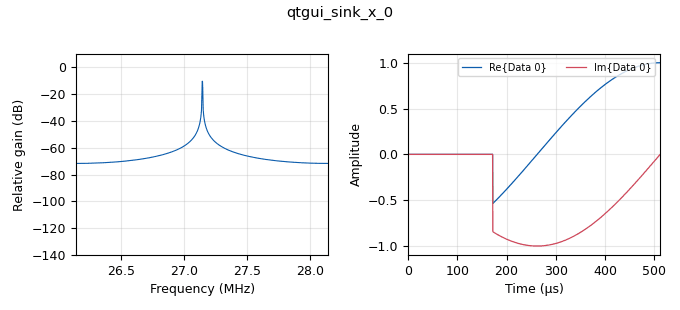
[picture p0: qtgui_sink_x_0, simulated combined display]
options:
  parameters:
    generate_options: qt_gui
    id: top_block
    output_language: python
  states: {}

blocks:
- name: center_freq
  id: variable
  parameters:
    value: '27146000'
  states: {}
- name: forward
  id: variable
  parameters:
    value: '[1, 1, 1, 1, 1, 0, 1, 1, 1, 1, 1, 0, 1, 1, 1, 1, 1, 0, 1, 1, 1, 1, 1, 0, 1, 1, 0, 1, 1, 0, 1, 1, 0, 1, 1, 0, 1, 1, 0, 1, 1, 0, 1, 1, 0, 1, 1, 0, 1, 1, 0, 1, 1, 0]'
  states: {}
- name: forwardLeft
  id: variable
  parameters:
    value: '[1, 1, 1, 1, 1, 0, 1, 1, 1, 1, 1, 0, 1, 1, 1, 1, 1, 0, 1, 1, 1, 1, 1, 0, 1, 1, 0, 1, 1, 0, 1, 1, 0, 1, 1, 0, 1, 1, 0, 1, 1, 0, 1, 1, 0, 1, 1, 0, 1, 1, 0, 1, 1, 0, 1, 1, 0, 1, 1, 0, 1, 1, 0, 1, 1, 0, 1, 1, 0, 1, 1, 0, 1, 1, 0, 1, 1, 0, 1, 1, 0, 1, 1, 0, 1, 1, 0, 1, 1, 0, 1, 1, 0, 1, 1, 0, 1, 1, 0, 1, 1, 0, 1, 1, 0, 1, 1, 0]'
  states: {}
- name: forwardRight
  id: variable
  parameters:
    value: '[1, 1, 1, 1, 1, 0, 1, 1, 1, 1, 1, 0, 1, 1, 1, 1, 1, 0, 1, 1, 1, 1, 1, 0, 1, 1, 0, 1, 1, 0, 1, 1, 0, 1, 1, 0, 1, 1, 0, 1, 1, 0, 1, 1, 0, 1, 1, 0, 1, 1, 0, 1, 1, 0, 1, 1, 0, 1, 1, 0, 1, 1, 0, 1, 1, 0, 1, 1, 0, 1, 1, 0, 1, 1, 0, 1, 1, 0, 1, 1, 0, 1, 1, 0, 1, 1, 0, 1, 1, 0, 1, 1, 0, 1, 1, 0, 1, 1, 0, 1, 1, 0, 1, 1, 0, 1, 1, 0, 1, 1, 0, 1, 1, 0, 1, 1, 0, 1, 1, 0, 1, 1, 0, 1, 1, 0]'
  states: {}
- name: left
  id: variable
  parameters:
    value: '[1, 1, 1, 1, 1, 0, 1, 1, 1, 1, 1, 0, 1, 1, 1, 1, 1, 0, 1, 1, 1, 1, 1, 0, 1, 1, 0, 1, 1, 0, 1, 1, 0, 1, 1, 0, 1, 1, 0, 1, 1, 0, 1, 1, 0, 1, 1, 0, 1, 1, 0, 1, 1, 0, 1, 1, 0, 1, 1, 0, 1, 1, 0, 1, 1, 0, 1, 1, 0, 1, 1, 0, 1, 1, 0, 1, 1, 0, 1, 1, 0, 1, 1, 0, 1, 1, 0, 1, 1, 0, 1, 1, 0, 1, 1, 0, 1, 1, 0, 1, 1, 0, 1, 1, 0, 1, 1, 0, 1, 1, 0, 1, 1, 0, 1, 1, 0, 1, 1, 0, 1, 1, 0, 1, 1, 0, 1, 1, 0, 1, 1, 0, 1, 1, 0, 1, 1, 0, 1, 1, 0, 1, 1, 0, 1, 1, 0, 1, 1, 0, 1, 1, 0, 1, 1, 0, 1, 1, 0, 1, 1, 0, 1, 1, 0, 1, 1, 0, 1, 1, 0, 1, 1, 0, 1, 1, 0, 1, 1, 0, 1, 1, 0, 1, 1, 0, 1, 1, 0, 1, 1, 0, 1, 1, 0, 1, 1, 0]'
  states: {}
- name: partyModeDirection
  id: variable
  parameters:
    value: int(np.real(probe)*127)%7
  states: {}
- name: probe
  id: variable_function_probe
  parameters:
    block_id: signalProbe
    function_name: level
    poll_rate: '5'
    value: '0'
  states: {}
- name: reverse
  id: variable
  parameters:
    value: '[1, 1, 1, 1, 1, 1, 0, 1, 1, 1, 1, 1, 1, 0, 1, 1, 1, 1, 1, 1, 0, 1, 1, 1, 1, 1, 1, 0, 1, 1, 1, 0, 1, 1, 1, 0, 1, 1, 1, 0, 1, 1, 1, 0, 1, 1, 1, 0, 1, 1, 1, 0, 1, 1, 1, 0, 1, 1, 1, 0, 1, 1, 1, 0, 1, 1, 1, 0, 1, 1, 1, 0, 1, 1, 1, 0, 1, 1, 1, 0, 1, 1, 1, 0, 1, 1, 1, 0, 1, 1, 1, 0, 1, 1, 1, 0, 1, 1, 1, 0, 1, 1, 1, 0, 1, 1, 1, 0, 1, 1, 1, 0, 1, 1, 1, 0, 1, 1, 1, 0, 1, 1, 1, 0, 1, 1, 1, 0, 1, 1, 1, 0, 1, 1, 1, 0, 1, 1, 1, 0, 1, 1, 1, 0, 1, 1, 1, 0, 1, 1, 1, 0, 1, 1, 1, 0, 1, 1, 1, 0, 1, 1, 1, 0, 1, 1, 1, 0, 1, 1, 1, 0, 1, 1, 1, 0, 1, 1, 1, 0, 1, 1, 1, 0, 1, 1, 1, 0]'
  states: {}
- name: reverseLeft
  id: variable
  parameters:
    value: '[1, 1, 1, 1, 1, 1, 1, 1, 0, 1, 1, 1, 1, 1, 1, 1, 1, 0, 1, 1, 1, 1, 1, 1, 1, 1, 0, 1, 1, 1, 1, 1, 1, 1, 1, 0, 1, 1, 1, 0, 1, 1, 1, 0, 1, 1, 1, 1, 0, 1, 1, 1, 0, 1, 1, 1, 0, 1, 1, 1, 0, 1, 1, 1, 0, 1, 1, 1, 0, 1, 1, 1, 0, 1, 1, 1, 0, 1, 1, 1, 0, 1, 1, 1, 0, 1, 1, 1, 0, 1, 1, 1, 0, 1, 1, 1, 0, 1, 1, 1, 1, 0, 1, 1, 1, 0, 1, 1, 1, 0, 1, 1, 1, 0, 1, 1, 1, 0, 1, 1, 1, 0, 1, 1, 1, 0, 1, 1, 1, 0, 1, 1, 1, 0, 1, 1, 1, 0, 1, 1, 1, 0, 1, 1, 1, 1, 0, 1, 1, 1, 0, 1, 1, 1, 0, 1, 1, 1, 0, 1, 1, 1, 1, 0, 1, 1, 1, 1, 0, 1, 1, 1, 0, 1, 1, 1, 0, 1, 1, 1, 0, 1, 1, 1, 0, 1, 1, 1, 1, 0, 1, 1, 1, 0, 1, 1, 1, 0, 1, 1, 1, 0, 1, 1, 1, 0, 1, 1, 1, 1, 0, 1, 1, 1, 0, 1, 1, 1, 0, 1, 1, 1, 0, 1, 1, 1, 0, 1, 1, 1, 0, 1, 1, 1, 0, 1, 1, 1, 0, 1, 1, 1, 0, 1, 1, 1, 0, 1, 1, 1, 0]'
  states: {}
- name: reverseRight
  id: variable
  parameters:
    value: '[1, 1, 1, 1, 1, 0, 1, 1, 1, 1, 1, 0, 1, 1, 1, 1, 1, 0, 1, 1, 1, 1, 1, 0, 1, 1, 0, 1, 1, 0, 1, 1, 0, 1, 1, 0, 1, 1, 0, 1, 1, 0, 1, 1, 0, 1, 1, 0, 1, 1, 0, 1, 1, 0, 1, 1, 0, 1, 1, 0, 1, 1, 0, 1, 1, 0, 1, 1, 0, 1, 1, 0, 1, 1, 0, 1, 1, 0, 1, 1, 0, 1, 1, 0, 1, 1, 0, 1, 1, 0, 1, 1, 0, 1, 1, 0, 1, 1, 0, 1, 1, 0, 1, 1, 0, 1, 1, 0, 1, 1, 0, 1, 1, 0, 1, 1, 0, 1, 1, 0, 1, 1, 0, 1, 1, 0, 1, 1, 0, 1, 1, 0, 1, 1, 0, 1, 1, 0, 1, 1, 0, 1, 1, 0, 1, 1, 0, 1, 1, 0, 1, 1, 0, 1, 1, 0, 1, 1, 0, 1, 1, 0]'
  states: {}
- name: right
  id: variable
  parameters:
    value: '[1, 1, 1, 1, 1, 0, 1, 1, 1, 1, 1, 0, 1, 1, 1, 1, 1, 0, 1, 1, 1, 1, 1, 0, 1, 1, 0, 1, 1, 0, 1, 1, 0, 1, 1, 0, 1, 1, 0, 1, 1, 0, 1, 1, 0, 1, 1, 0, 1, 1, 0, 1, 1, 0, 1, 1, 0, 1, 1, 0, 1, 1, 0, 1, 1, 0, 1, 1, 0, 1, 1, 0, 1, 1, 0, 1, 1, 0, 1, 1, 0, 1, 1, 0, 1, 1, 0, 1, 1, 0, 1, 1, 0, 1, 1, 0, 1, 1, 0, 1, 1, 0, 1, 1, 0, 1, 1, 0, 1, 1, 0, 1, 1, 0, 1, 1, 0, 1, 1, 0, 1, 1, 0, 1, 1, 0, 1, 1, 0, 1, 1, 0, 1, 1, 0, 1, 1, 0, 1, 1, 0, 1, 1, 0, 1, 1, 0, 1, 1, 0, 1, 1, 0, 1, 1, 0, 1, 1, 0, 1, 1, 0, 1, 1, 0, 1, 1, 0, 1, 1, 0, 1, 1, 0, 1, 1, 0, 1, 1, 0, 1, 1, 0, 1, 1, 0, 1, 1, 0, 1, 1, 0, 1, 1, 0, 1, 1, 0, 1, 1, 0, 1, 1, 0, 1, 1, 0, 1, 1, 0, 1, 1, 0, 1, 1, 0]'
  states: {}
- name: samp_rate
  id: variable
  parameters:
    value: '2000000'
  states: {}
- name: stopCar
  id: variable
  parameters:
    value: '[0]'
  states: {}
- name: symbol_duration
  id: variable
  parameters:
    value: '0.302e-3'
  states: {}
- name: variable_qtgui_check_box_0
  id: variable_qtgui_check_box
  parameters:
    'false': '0'
    label: Enable Party Mode
    'true': '1'
    type: int
    value: '0'
  states: {}
- name: variable_qtgui_label_0
  id: variable_qtgui_label
  parameters:
    label: Amplitude
    type: raw
    value: probe
  states: {}
- name: variable_qtgui_label_1
  id: variable_qtgui_label
  parameters:
    label: Party Mode Current Direction
    type: int
    value: partyModeDirection
  states: {}
- name: vector
  id: variable_qtgui_chooser
  parameters:
    label: Choose Direction
    labels: '[''Forward (0)'', ''Stop Car (1)'', ''Reverse (2)'', ''Forward Right (3)'', ''Forward Left (4)'', ''Reverse Right (5)'', ''Reverse Left (6)'']'
    num_opts: '0'
    options: '[0, 1, 2, 3, 4, 5, 6]'
    orient: Qt.QHBoxLayout
    type: raw
    value: '0'
    widget: radio_buttons
  states: {}
- name: analog_sig_source_x_0
  id: analog_sig_source_x
  parameters:
    amp: '1'
    freq: '1000'
    offset: '0'
    phase: '0'
    samp_rate: samp_rate
    type: complex
    waveform: analog.GR_COS_WAVE
  states: {}
- name: blocks_multiply_xx_0
  id: blocks_multiply_xx
  parameters:
    type: complex
  states: {}
- name: blocks_repeat_0
  id: blocks_repeat
  parameters:
    interp: int(samp_rate*symbol_duration)
    type: complex
  states: {}
- name: blocks_selector_0
  id: blocks_selector
  parameters:
    enabled: 'True'
    input_index: variable_qtgui_check_box_0
    num_inputs: '2'
    num_outputs: '1'
    output_index: '0'
    type: complex
  states: {}
- name: blocks_selector_1
  id: blocks_selector
  parameters:
    enabled: 'True'
    input_index: partyModeDirection
    num_inputs: '7'
    num_outputs: '1'
    output_index: '0'
    type: complex
  states: {}
- name: blocks_selector_2
  id: blocks_selector
  parameters:
    enabled: 'True'
    input_index: vector
    num_inputs: '7'
    num_outputs: '1'
    output_index: '0'
    type: complex
  states: {}
- name: blocks_throttle_0
  id: blocks_throttle
  parameters:
    samples_per_second: samp_rate
    type: complex
  states: {}
- name: blocks_vector_source_x_0_0
  id: blocks_vector_source_x
  parameters:
    repeat: 'True'
    type: complex
    vector: forwardLeft
  states: {}
- name: blocks_vector_source_x_0_0_0
  id: blocks_vector_source_x
  parameters:
    repeat: 'True'
    type: complex
    vector: reverseRight
  states: {}
- name: blocks_vector_source_x_0_0_0_0
  id: blocks_vector_source_x
  parameters:
    repeat: 'True'
    type: complex
    vector: forwardRight
  states: {}
- name: blocks_vector_source_x_0_0_0_0_0
  id: blocks_vector_source_x
  parameters:
    repeat: 'True'
    type: complex
    vector: reverseLeft
  states: {}
- name: blocks_vector_source_x_0_0_0_0_0_0
  id: blocks_vector_source_x
  parameters:
    repeat: 'True'
    type: complex
    vector: forward
  states: {}
- name: blocks_vector_source_x_0_0_0_0_0_0_0
  id: blocks_vector_source_x
  parameters:
    repeat: 'True'
    type: complex
    vector: reverse
  states: {}
- name: blocks_vector_source_x_0_0_0_1
  id: blocks_vector_source_x
  parameters:
    repeat: 'True'
    type: complex
    vector: stopCar
  states: {}
- name: import_0
  id: import
  parameters:
    imports: import numpy as np
  states: {}
- name: osmosdr_sink_0
  id: osmosdr_sink
  parameters:
    bb_gain0: '47'
    freq0: center_freq
    gain0: '47'
    if_gain0: '47'
    sample_rate: samp_rate
    sync: sync
    type: fc32
  states: {}
- name: qtgui_sink_x_0
  id: qtgui_sink_x
  parameters:
    bw: samp_rate
    fc: center_freq
    fftsize: '1024'
    plotconst: 'False'
    plotwaterfall: 'False'
    type: complex
    wintype: firdes.WIN_BLACKMAN_hARRIS
  states: {}
- name: signalProbe
  id: blocks_probe_signal_x
  parameters:
    type: complex
  states: {}

connections:
- [analog_sig_source_x_0, '0', blocks_multiply_xx_0, '1']
- [blocks_multiply_xx_0, '0', blocks_throttle_0, '0']
- [blocks_repeat_0, '0', blocks_multiply_xx_0, '0']
- [blocks_selector_0, '0', blocks_repeat_0, '0']
- [blocks_selector_1, '0', blocks_selector_0, '1']
- [blocks_selector_2, '0', blocks_selector_0, '0']
- [blocks_throttle_0, '0', osmosdr_sink_0, '0']
- [blocks_throttle_0, '0', qtgui_sink_x_0, '0']
- [blocks_throttle_0, '0', signalProbe, '0']
- [blocks_vector_source_x_0_0, '0', blocks_selector_1, '4']
- [blocks_vector_source_x_0_0, '0', blocks_selector_2, '4']
- [blocks_vector_source_x_0_0_0, '0', blocks_selector_1, '5']
- [blocks_vector_source_x_0_0_0, '0', blocks_selector_2, '5']
- [blocks_vector_source_x_0_0_0_0, '0', blocks_selector_1, '3']
- [blocks_vector_source_x_0_0_0_0, '0', blocks_selector_2, '3']
- [blocks_vector_source_x_0_0_0_0_0, '0', blocks_selector_1, '6']
- [blocks_vector_source_x_0_0_0_0_0, '0', blocks_selector_2, '6']
- [blocks_vector_source_x_0_0_0_0_0_0, '0', blocks_selector_1, '0']
- [blocks_vector_source_x_0_0_0_0_0_0, '0', blocks_selector_2, '0']
- [blocks_vector_source_x_0_0_0_0_0_0_0, '0', blocks_selector_1, '2']
- [blocks_vector_source_x_0_0_0_0_0_0_0, '0', blocks_selector_2, '2']
- [blocks_vector_source_x_0_0_0_1, '0', blocks_selector_1, '1']
- [blocks_vector_source_x_0_0_0_1, '0', blocks_selector_2, '1']

metadata:
  file_format: 1
